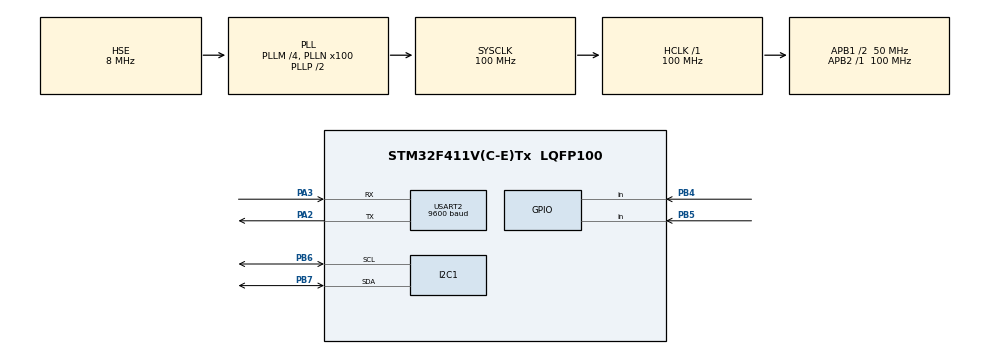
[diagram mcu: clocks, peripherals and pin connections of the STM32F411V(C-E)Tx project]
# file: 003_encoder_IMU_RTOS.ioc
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FREERTOS.Tasks01=encoderTask,24,384,get_encoder_task,Default,NULL,Dynamic,NULL,NULL;imu_task_handle,24,768,imu_task,Default,NULL,Dynamic,NULL,NULL
Mcu.Family=STM32F4
Mcu.Name=STM32F411V(C-E)Tx
Mcu.Package=LQFP100
NVIC.PriorityGroup=NVIC_PRIORITYGROUP_4
NVIC.USART2_IRQn=true\:5\:0\:false\:false\:true\:true\:true\:true\:true
PA2.Mode=Asynchronous
PA2.Signal=USART2_TX
PA3.Mode=Asynchronous
PA3.Signal=USART2_RX
PB4.Signal=GPIO_Input
PB5.Signal=GPIO_Input
PB6.Mode=I2C
PB6.Signal=I2C1_SCL
PB7.Mode=I2C
PB7.Signal=I2C1_SDA
PH0\ -\ OSC_IN.Mode=HSE-External-Oscillator
PH0\ -\ OSC_IN.Signal=RCC_OSC_IN
PH1\ -\ OSC_OUT.Mode=HSE-External-Oscillator
PH1\ -\ OSC_OUT.Signal=RCC_OSC_OUT
ProjectManager.HeapSize=0x200
ProjectManager.StackSize=0x400
ProjectManager.TargetToolchain=STM32CubeIDE
RCC.48MHZClocksFreq_Value=50000000
RCC.AHBFreq_Value=100000000
RCC.APB1CLKDivider=RCC_HCLK_DIV2
RCC.APB1Freq_Value=50000000
RCC.APB1TimFreq_Value=100000000
RCC.APB2Freq_Value=100000000
RCC.APB2TimFreq_Value=100000000
RCC.CortexFreq_Value=100000000
RCC.HCLKFreq_Value=100000000
RCC.HSE_VALUE=8000000
RCC.HSI_VALUE=16000000
RCC.LSE_VALUE=32768
RCC.PLLM=4
RCC.PLLN=100
RCC.PLLSourceVirtual=RCC_PLLSOURCE_HSE
RCC.SYSCLKFreq_VALUE=100000000
RCC.SYSCLKSource=RCC_SYSCLKSOURCE_PLLCLK
RCC.VCOOutputFreq_Value=200000000
USART2.BaudRate=9600
USART2.VirtualMode=VM_ASYNC
VP_FREERTOS_VS_CMSIS_V2.Mode=CMSIS_V2
board=custom

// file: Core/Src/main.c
/* USER CODE BEGIN Header */
/**
 ******************************************************************************
 * @file           : main.c
 * @brief          : Main program body
 ******************************************************************************
 * @attention
 *
 * Copyright (c) 2023 STMicroelectronics.
 * All rights reserved.
 *
 * This software is licensed under terms that can be found in the LICENSE file
 * in the root directory of this software component.
 * If no LICENSE file comes with this software, it is provided AS-IS.
 *
 ******************************************************************************
 */
/* USER CODE END Header */
#include "main.h"
#include "cmsis_os.h"

/* USER CODE BEGIN Includes */
#include "stdbool.h"
#include "stdio.h"
#include <string.h>
#include "mpu6050.h"
/* USER CODE END Includes */

I2C_HandleTypeDef hi2c1;

UART_HandleTypeDef huart2;

/* Definitions for encoderTask */
osThreadId_t encoderTaskHandle;
const osThreadAttr_t encoderTask_attributes = {
  .name = "encoderTask",
  .stack_size = 384 * 4,
  .priority = (osPriority_t) osPriorityNormal,
};
/* Definitions for imu_task_handle */
osThreadId_t imu_task_handleHandle;
const osThreadAttr_t imu_task_handle_attributes = {
  .name = "imu_task_handle",
  .stack_size = 768 * 4,
  .priority = (osPriority_t) osPriorityNormal,
};

void SystemClock_Config(void);
static void MX_GPIO_Init(void);
static void MX_USART2_UART_Init(void);
static void MX_I2C1_Init(void);
void get_encoder_task(void *argument);
void imu_task(void *argument);

/* USER CODE BEGIN PFP */
void print_accel(MPU6050_t *MPU6050);
void print_gyro(MPU6050_t *MPU6050);
/* USER CODE END PFP */

int main(void)
{

  /* MCU Configuration--------------------------------------------------------*/

  /* Reset of all peripherals, Initializes the Flash interface and the Systick. */
  HAL_Init();

  /* Configure the system clock */
  SystemClock_Config();

  /* Initialize all configured peripherals */
  MX_GPIO_Init();
  MX_USART2_UART_Init();
  MX_I2C1_Init();

  /* Init scheduler */
  osKernelInitialize();

  /* Create the thread(s) */
  /* creation of encoderTask */
  encoderTaskHandle = osThreadNew(get_encoder_task, NULL, &encoderTask_attributes);

  /* creation of imu_task_handle */
  imu_task_handleHandle = osThreadNew(imu_task, NULL, &imu_task_handle_attributes);

  /* Start scheduler */
  osKernelStart();

  /* We should never get here as control is now taken by the scheduler */
  /* Infinite loop */
	while (1) {

	}
}

void SystemClock_Config(void)
{
  RCC_OscInitTypeDef RCC_OscInitStruct = {0};
  RCC_ClkInitTypeDef RCC_ClkInitStruct = {0};

  /** Configure the main internal regulator output voltage
  */
  __HAL_RCC_PWR_CLK_ENABLE();
  __HAL_PWR_VOLTAGESCALING_CONFIG(PWR_REGULATOR_VOLTAGE_SCALE1);

  /** Initializes the RCC Oscillators according to the specified parameters
  * in the RCC_OscInitTypeDef structure.
  */
  RCC_OscInitStruct.OscillatorType = RCC_OSCILLATORTYPE_HSE;
  RCC_OscInitStruct.HSEState = RCC_HSE_ON;
  RCC_OscInitStruct.PLL.PLLState = RCC_PLL_ON;
  RCC_OscInitStruct.PLL.PLLSource = RCC_PLLSOURCE_HSE;
  RCC_OscInitStruct.PLL.PLLM = 4;
  RCC_OscInitStruct.PLL.PLLN = 100;
  RCC_OscInitStruct.PLL.PLLP = RCC_PLLP_DIV2;
  RCC_OscInitStruct.PLL.PLLQ = 4;
  if (HAL_RCC_OscConfig(&RCC_OscInitStruct) != HAL_OK)
  {
    Error_Handler();
  }

  /** Initializes the CPU, AHB and APB buses clocks
  */
  RCC_ClkInitStruct.ClockType = RCC_CLOCKTYPE_HCLK|RCC_CLOCKTYPE_SYSCLK
                              |RCC_CLOCKTYPE_PCLK1|RCC_CLOCKTYPE_PCLK2;
  RCC_ClkInitStruct.SYSCLKSource = RCC_SYSCLKSOURCE_PLLCLK;
  RCC_ClkInitStruct.AHBCLKDivider = RCC_SYSCLK_DIV1;
  RCC_ClkInitStruct.APB1CLKDivider = RCC_HCLK_DIV2;
  RCC_ClkInitStruct.APB2CLKDivider = RCC_HCLK_DIV1;

  if (HAL_RCC_ClockConfig(&RCC_ClkInitStruct, FLASH_LATENCY_3) != HAL_OK)
  {
    Error_Handler();
  }
}

static void MX_I2C1_Init(void)
{

  hi2c1.Instance = I2C1;
  hi2c1.Init.ClockSpeed = 100000;
  hi2c1.Init.DutyCycle = I2C_DUTYCYCLE_2;
  hi2c1.Init.OwnAddress1 = 0;
  hi2c1.Init.AddressingMode = I2C_ADDRESSINGMODE_7BIT;
  hi2c1.Init.DualAddressMode = I2C_DUALADDRESS_DISABLE;
  hi2c1.Init.OwnAddress2 = 0;
  hi2c1.Init.GeneralCallMode = I2C_GENERALCALL_DISABLE;
  hi2c1.Init.NoStretchMode = I2C_NOSTRETCH_DISABLE;
  if (HAL_I2C_Init(&hi2c1) != HAL_OK)
  {
    Error_Handler();
  }

}

static void MX_USART2_UART_Init(void)
{

  huart2.Instance = USART2;
  huart2.Init.BaudRate = 9600;
  huart2.Init.WordLength = UART_WORDLENGTH_8B;
  huart2.Init.StopBits = UART_STOPBITS_1;
  huart2.Init.Parity = UART_PARITY_NONE;
  huart2.Init.Mode = UART_MODE_TX_RX;
  huart2.Init.HwFlowCtl = UART_HWCONTROL_NONE;
  huart2.Init.OverSampling = UART_OVERSAMPLING_16;
  if (HAL_UART_Init(&huart2) != HAL_OK)
  {
    Error_Handler();
  }

}

static void MX_GPIO_Init(void)
{
  GPIO_InitTypeDef GPIO_InitStruct = {0};

  /* GPIO Ports Clock Enable */
  __HAL_RCC_GPIOH_CLK_ENABLE();
  __HAL_RCC_GPIOA_CLK_ENABLE();
  __HAL_RCC_GPIOB_CLK_ENABLE();

  /*Configure GPIO pins : PB4 PB5 */
  GPIO_InitStruct.Pin = GPIO_PIN_4|GPIO_PIN_5;
  GPIO_InitStruct.Mode = GPIO_MODE_INPUT;
  GPIO_InitStruct.Pull = GPIO_NOPULL;
  HAL_GPIO_Init(GPIOB, &GPIO_InitStruct);

}

/* USER CODE BEGIN 4 */
void print_accel(MPU6050_t *MPU6050) {
	char buffer[100];
	int32_t len;
	len = sprintf(buffer, "Acc: X:%f Y:%f Z:%f\n", MPU6050->Ax, MPU6050->Ay,
			MPU6050->Az);
	HAL_UART_Transmit(&huart2, (uint8_t*) buffer, len, HAL_MAX_DELAY);
}
void print_gyro(MPU6050_t *MPU6050) {
	char buffer[100];
	int32_t len;
	len = sprintf(buffer, "Gyro: X:%f Y:%f Z:%f\n", MPU6050->Gx, MPU6050->Gy,
			MPU6050->Gz);
	HAL_UART_Transmit(&huart2, (uint8_t*) buffer, len, HAL_MAX_DELAY);

}
/* USER CODE END 4 */

void get_encoder_task(void *argument)
{
  /* USER CODE BEGIN 5 */
	int encoderPosCount = 0;
	char posCount[20];
	int pinALast;
	int aVal;
	bool bCW;
	pinALast = HAL_GPIO_ReadPin(GPIOB, GPIO_PIN_5);
	/* Infinite loop */
	for (;;) {
		aVal = HAL_GPIO_ReadPin(GPIOB, GPIO_PIN_5);
		if (aVal != pinALast) {

			if (HAL_GPIO_ReadPin(GPIOB, GPIO_PIN_4) != aVal) {
				encoderPosCount++;
				bCW = 1;
			} else {
				bCW = 0;
				encoderPosCount--;
			}
			HAL_UART_Transmit(&huart2, (uint8_t*) "Rotated: ", 8,
			HAL_MAX_DELAY);
			if (bCW) {
				HAL_UART_Transmit(&huart2, (uint8_t*) "clockwise\n", 9,
				HAL_MAX_DELAY);
			} else {
				HAL_UART_Transmit(&huart2, (uint8_t*) "counterclockwise\n", 15,
				HAL_MAX_DELAY);
			}
			HAL_UART_Transmit(&huart2, (uint8_t*) "Encoder Position: ", 17,
			HAL_MAX_DELAY);
			sprintf(posCount, "%d", encoderPosCount);
			HAL_UART_Transmit(&huart2, (uint8_t*) posCount, strlen(posCount),
			HAL_MAX_DELAY);
			HAL_UART_Transmit(&huart2, (uint8_t*) "\n", 1, HAL_MAX_DELAY);

		}
		pinALast = aVal;
	}
  /* USER CODE END 5 */
}

void imu_task(void *argument)
{
  /* USER CODE BEGIN imu_task */
	/* Infinite loop */
	MPU6050_t MPU6050;

	for (;;) {
		MPU6050_Read_Accel(&hi2c1, &MPU6050);
		HAL_Delay(500);
		print_accel(&MPU6050);
	}
  /* USER CODE END imu_task */
}

void Error_Handler(void)
{
	__disable_irq();
	while (1) {
	}
}
